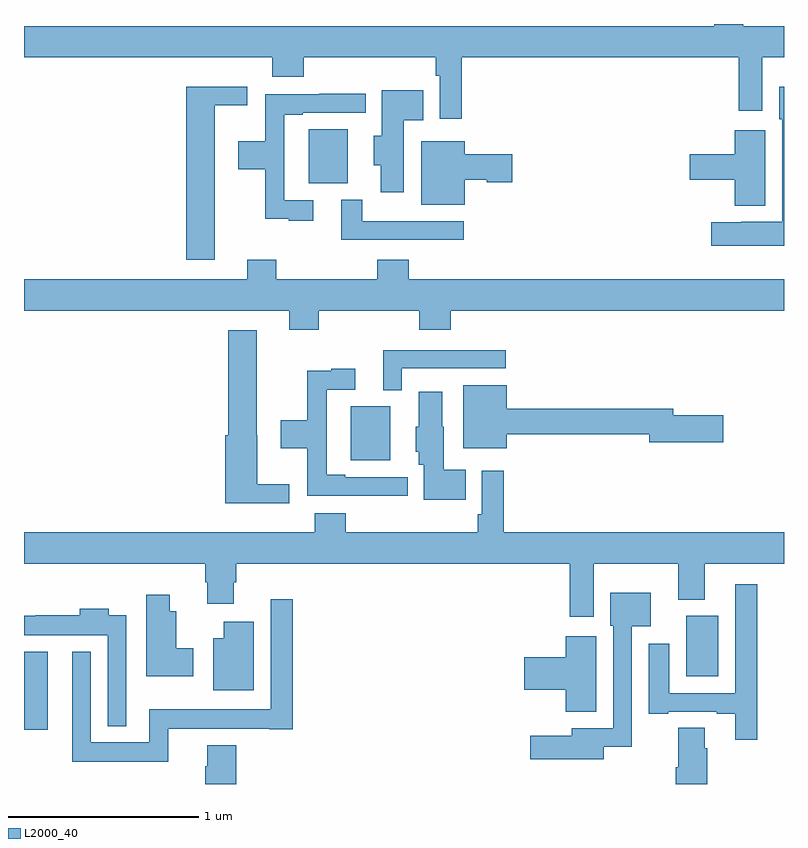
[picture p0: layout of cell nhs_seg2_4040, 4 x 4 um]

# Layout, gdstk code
import gdstk
lib = gdstk.Library(unit=1e-6, precision=1e-09)
def R(c, l, rs):  # rectangles x0, y0, x1, y1
    for r in rs: c.add(gdstk.rectangle(r[:2], r[2:], *l))
def P(c, l, *ps):  # polygons
    for p in ps: c.add(gdstk.Polygon(p, *l))
L2000_40 = (2000, 40)

nhs_seg2_4040 = lib.new_cell('nhs_seg2_4040')
R(nhs_seg2_4040, L2000_40, [(327,656.086,327.124,656.497), (330.485,656.366,330.655,656.686), (328.721,657.503,328.927,657.787), (328.499,658.961,328.705,659.245)])
P(nhs_seg2_4040, L2000_40, [(329.303,659.624),(330.761,659.624),(330.761,659.343),(330.886,659.343),(330.886,659.624),(331,659.624),(331,659.788),(330.785,659.788),(330.785,659.8),(330.632,659.8),(330.632,659.788),(327,659.788),(327,659.624),(328.307,659.624),(328.307,659.522),(328.472,659.522),(328.472,659.624),(329.167,659.624),(329.167,659.528),(329.187,659.528),(329.187,659.301),(329.303,659.301)],
  [(328.003,659.372),(328.174,659.372),(328.174,659.47),(327.854,659.47),(327.854,658.56),(328.003,658.56)],
  [(331,659.47),(330.974,659.47),(330.974,659.298),(330.99,659.298),(330.99,658.758),(330.774,658.758),(330.774,658.756),(330.618,658.756),(330.618,658.634),(331,658.634)],
  [(328.999,659.294),(329.102,659.294),(329.102,659.452),(328.883,659.452),(328.883,659.211),(328.841,659.211),(328.841,659.056),(328.877,659.056),(328.877,658.914),(328.999,658.914)],
  [(328.522,658.872),(328.371,658.872),(328.371,659.322),(328.468,659.322),(328.468,659.334),(328.798,659.334),(328.798,659.432),(328.555,659.432),(328.555,659.43),(328.27,659.43),(328.27,659.182),(328.128,659.182),(328.128,659.035),(328.27,659.035),(328.27,658.775),(328.394,658.775),(328.394,658.764),(328.522,658.764)],
  [(330.901,659.242),(330.74,659.242),(330.74,659.114),(330.504,659.114),(330.504,658.979),(330.74,658.979),(330.74,658.844),(330.901,658.844)],
  [(329.32,658.979),(329.436,658.979),(329.436,658.967),(329.569,658.967),(329.569,659.114),(329.32,659.114),(329.32,659.182),(329.09,659.182),(329.09,658.85),(329.32,658.85)],
  [(329.314,658.761),(328.994,658.761),(328.994,658.762),(328.78,658.762),(328.78,658.876),(328.67,658.876),(328.67,658.665),(329.314,658.665)],
  [(328.859,658.558),(328.859,658.456),(328.328,658.456),(328.328,658.558),(328.175,658.558),(328.175,658.456),(327,658.456),(327,658.292),(328.397,658.292),(328.397,658.19),(328.55,658.19),(328.55,658.292),(329.081,658.292),(329.081,658.19),(329.246,658.19),(329.246,658.292),(331,658.292),(331,658.456),(329.024,658.456),(329.024,658.558)],
  [(328.396,657.377),(328.228,657.377),(328.228,657.636),(328.225,657.636),(328.225,658.189),(328.076,658.189),(328.076,657.636),(328.058,657.636),(328.058,657.278),(328.396,657.278)],
  [(328.989,657.987),(329.536,657.987),(329.536,658.083),(328.892,658.083),(328.892,657.872),(328.989,657.872)],
  [(329.02,657.414),(328.69,657.414),(328.69,657.427),(328.593,657.427),(328.593,657.876),(328.744,657.876),(328.744,657.985),(328.616,657.985),(328.616,657.974),(328.492,657.974),(328.492,657.714),(328.35,657.714),(328.35,657.566),(328.492,657.566),(328.492,657.318),(328.777,657.318),(328.777,657.317),(329.02,657.317)],
  [(329.542,657.64),(330.29,657.64),(330.29,657.598),(330.679,657.598),(330.679,657.74),(330.418,657.74),(330.418,657.776),(329.542,657.776),(329.542,657.898),(329.312,657.898),(329.312,657.566),(329.542,657.566)],
  [(329.324,657.454),(329.209,657.454),(329.209,657.681),(329.2,657.681),(329.2,657.865),(329.078,657.865),(329.078,657.681),(329.063,657.681),(329.063,657.549),(329.078,657.549),(329.078,657.48),(329.105,657.48),(329.105,657.296),(329.324,657.296)],
  [(329.998,656.96),(330.443,656.96),(330.443,656.771),(330.583,656.771),(330.583,656.96),(331,656.96),(331,657.124),(329.525,657.124),(329.525,657.448),(329.409,657.448),(329.409,657.22),(329.389,657.22),(329.389,657.124),(328.694,657.124),(328.694,657.226),(328.529,657.226),(328.529,657.124),(327,657.124),(327,656.96),(327.953,656.96),(327.953,656.862),(327.965,656.862),(327.965,656.748),(328.105,656.748),(328.105,656.862),(328.118,656.862),(328.118,656.96),(329.873,656.96),(329.873,656.679),(329.998,656.679)],
  [(330.86,656.851),(330.744,656.851),(330.744,656.277),(330.397,656.277),(330.397,656.539),(330.287,656.539),(330.287,656.169),(330.391,656.169),(330.391,656.181),(330.647,656.181),(330.647,656.169),(330.743,656.169),(330.743,656.034),(330.86,656.034)],
  [(330.052,655.997),(330.198,655.997),(330.198,656.63),(330.298,656.63),(330.298,656.806),(330.086,656.806),(330.086,656.634),(330.102,656.634),(330.102,656.094),(329.882,656.094),(329.882,656.053),(329.664,656.053),(329.664,655.931),(330.052,655.931)],
  [(327.892,656.514),(327.802,656.514),(327.802,656.71),(327.766,656.71),(327.766,656.797),(327.644,656.797),(327.644,656.366),(327.892,656.366)],
  [(327.758,656.09),(328.292,656.09),(328.292,656.088),(328.415,656.088),(328.415,656.773),(328.299,656.773),(328.299,656.194),(327.66,656.194),(327.66,656.02),(327.351,656.02),(327.351,656.497),(327.254,656.497),(327.254,655.916),(327.758,655.916)],
  [(327.537,656.689),(327.445,656.689),(327.445,656.722),(327.293,656.722),(327.293,656.689),(327.061,656.689),(327.061,656.686),(327,656.686),(327,656.582),(327.441,656.582),(327.441,656.105),(327.537,656.105)],
  [(328.21,656.653),(328.052,656.653),(328.052,656.566),(327.995,656.566),(327.995,656.294),(328.21,656.294)],
  [(330.013,656.578),(329.852,656.578),(329.852,656.468),(329.634,656.468),(329.634,656.297),(329.852,656.297),(329.852,656.179),(330.013,656.179)],
  [(330.596,655.988),(330.583,655.988),(330.583,656.096),(330.443,656.096),(330.443,655.888),(330.431,655.888),(330.431,655.8),(330.596,655.8)],
  [(328.118,656.005),(327.965,656.005),(327.965,655.893),(327.953,655.893),(327.953,655.8),(328.118,655.8)])

lib.write_gds('nhs_seg2_4040.gds')
